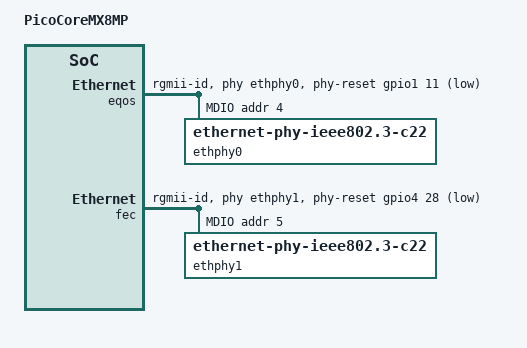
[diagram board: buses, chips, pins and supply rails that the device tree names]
/*
* Copyright 2019-2021 F&S Elektronik Systeme GmbH
*
* This program is free software; you can redistribute it and/or
* modify it under the terms of the GNU General Public License
* as published by the Free Software Foundation; either version 2
* of the License, or (at your option) any later version.
*
* This program is distributed in the hope that it will be useful,
* but WITHOUT ANY WARRANTY; without even the implied warranty of
* MERCHANTABILITY or FITNESS FOR A PARTICULAR PURPOSE.  See the
* GNU General Public License for more details.
*/

/dts-v1/;

/* Set board revision as 3-digit number, e.g. 110 for board rev. 1.10 */
#define CONFIG_PICOCOREMX8MP_BOARD_REVISION	100

 /* Network */
/* Use FIXED_SPEED and LEGACY_ETH for now */
#define CONFIG_PICOCOREMX8MP_ETH

/* USB */
#define CONFIG_PICOCOREMX8MP_USB_OTG
#define CONFIG_PICOCOREMX8MP_USB_HOST

#include "picocoremx8mp.dtsi"

/ {
	model = "PicoCoreMX8MP";
};

&eqos {
	/delete-property/ assigned-clocks;
	/delete-property/ assigned-clock-parents;
	/delete-property/ assigned-clock-rates;
	compatible = "fsl,imx-eqos";
	pinctrl-names = "default";
	pinctrl-0 = <&pinctrl_eqos>;
	phy-mode = "rgmii-id";
	phy-handle = <&ethphy0>;
	phy-reset-gpios = <&gpio1 11 GPIO_ACTIVE_LOW>;
	phy-reset-duration = <1>;
	status = "okay";

	mdio {
		compatible = "snps,dwmac-mdio";
		#address-cells = <1>;
		#size-cells = <0>;

		ethphy0: ethernet-phy@4 {
			compatible = "ethernet-phy-ieee802.3-c22";
			reg = <4>;
			eee-broken-1000t;
		};
	};
};

&fec {
	pinctrl-names = "default";
	pinctrl-0 = <&pinctrl_fec>;
	phy-mode = "rgmii-id";
	phy-handle = <&ethphy1>;
	fsl,magic-packet;
	phy-reset-gpios = <&gpio4 28 GPIO_ACTIVE_LOW>;
	phy-reset-duration = <1>;
	status = "okay";

	mdio {
		#address-cells = <1>;
		#size-cells = <0>;

		ethphy1: ethernet-phy@5 {
			compatible = "ethernet-phy-ieee802.3-c22";
			reg = <5>;
			eee-broken-1000t;
		};
	};
};
